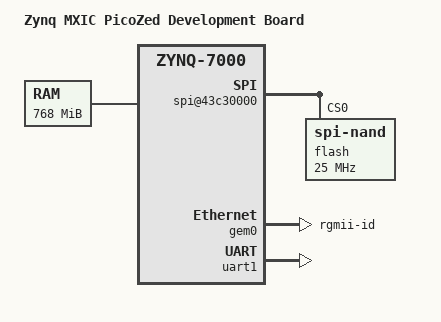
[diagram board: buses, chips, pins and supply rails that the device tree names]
/dts-v1/;
#include "zynq-7000.dtsi"

/ {
	model = "Zynq MXIC PicoZed Development Board";
	compatible = "mxicy,zynq-mxic-picozed", "xlnx,zynq-7000";

	aliases {
		ethernet0 = &gem0;
		serial0 = &uart1;
	};

	memory@0 {
		device_type = "memory";
		reg = <0x0 0x30000000>;
	};

	chosen {
		bootargs = "";
		stdout-path = "serial0:115200n8";
	};

	clkwzd_in: clkwzd_in {
		compatible = "fixed-clock";
		#clock-cells = <0>;
		clock-frequency = <133300000>;
	};	
};

&amba {
	clkwizard: clkwizard@43c20000 {
		compatible = "xlnx,clk-wizard-5.1";
		reg = <0x43c20000 0x10000>;
		clocks = <&clkc 18>, <&clkc 18>;
		clock-names = "aclk", "clk_in1";
		#clock-cells = <1>;
		xlnx,clk-wizard-num-outputs = <2>;
	};

	spi@43c30000 {
		compatible = "mxicy,mx25f0a-spi";
		reg = <0x43c30000 0x10000>, <0xa0000000 0x20000000>;
		reg-names = "regs", "dirmap";
		clocks = <&clkwizard 0>, <&clkwizard 1>, <&clkc 18>;
		clock-names = "send_clk", "send_dly_clk", "ps_clk";
		#address-cells = <1>;
		#size-cells = <0>;

		flash@0 {
			compatible = "spi-nand";
			reg = <0>;
			spi-max-frequency = <25000000>;
			spi-tx-bus-width = <4>;
			spi-rx-bus-width = <4>;
		};
	};
};

&clkc {
	ps-clk-frequency = <33333333>;
};

&gem0 {
	status = "okay";
	phy-mode = "rgmii-id";
};

&uart1 {
	status = "okay";
};
